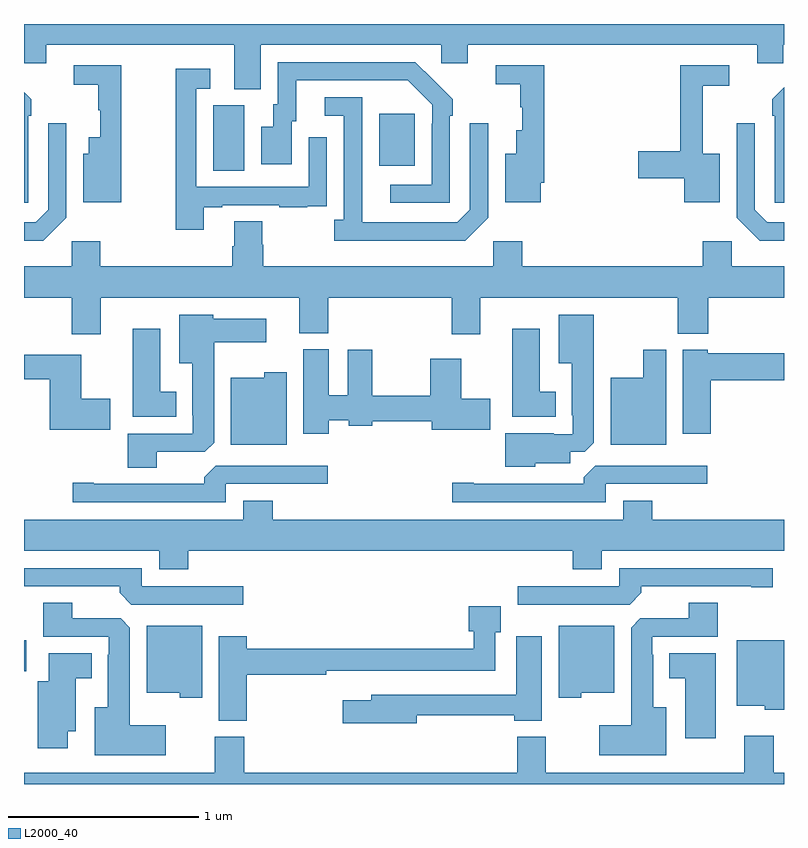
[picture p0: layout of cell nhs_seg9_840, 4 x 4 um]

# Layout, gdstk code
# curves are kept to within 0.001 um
import gdstk
lib = gdstk.Library(unit=1e-6, precision=1e-09)
def R(c, l, rs):  # rectangles x0, y0, x1, y1
    for r in rs: c.add(gdstk.rectangle(r[:2], r[2:], *l))
def P(c, l, *ps):  # polygons
    for p in ps: c.add(gdstk.Polygon(p, *l))
L2000_40 = (2000, 40)

nhs_seg9_840 = lib.new_cell('nhs_seg9_840')
R(nhs_seg9_840, L2000_40, [(155,1221.094,155.011,1221.256), (155.996,1223.728,156.16,1224.072), (156.869,1223.753,157.057,1224.028)])
P(nhs_seg9_840, L2000_40, [(156.247,1224.392),(157.197,1224.392),(157.197,1224.294),(157.336,1224.294),(157.336,1224.392),(158.858,1224.392),(158.858,1224.294),(158.997,1224.294),(158.997,1224.392),(159,1224.392),(159,1224.5),(155,1224.5),(155,1224.294),(155.116,1224.294),(155.116,1224.392),(156.107,1224.392),(156.107,1224.157),(156.247,1224.157)],
  [(157.242,1224.017),(157.257,1224.017),(157.257,1224.105),(157.06,1224.3),(156.336,1224.3),(156.336,1224.078),(156.311,1224.078),(156.311,1223.959),(156.248,1223.959),(156.248,1223.763),(156.409,1223.763),(156.409,1223.988),(156.433,1223.988),(156.433,1224.204),(157.021,1224.204),(157.149,1224.075),(157.149,1223.975),(157.146,1223.975),(157.146,1223.655),(156.927,1223.655),(156.927,1223.559),(157.242,1223.559)],
  [(158.662,1223.818),(158.573,1223.818),(158.573,1224.174),(158.713,1224.174),(158.713,1224.282),(158.455,1224.282),(158.455,1223.831),(158.232,1223.831),(158.232,1223.689),(158.474,1223.689),(158.474,1223.561),(158.662,1223.561)],
  [(155.512,1224.282),(155.262,1224.282),(155.262,1224.181),(155.391,1224.181),(155.391,1224.045),(155.402,1224.045),(155.402,1223.905),(155.342,1223.905),(155.342,1223.818),(155.312,1223.818),(155.312,1223.561),(155.512,1223.561)],
  [(157.72,1223.665),(157.739,1223.665),(157.739,1224.282),(157.482,1224.282),(157.482,1224.184),(157.611,1224.184),(157.611,1224.063),(157.622,1224.063),(157.622,1223.941),(157.592,1223.941),(157.592,1223.818),(157.532,1223.818),(157.532,1223.561),(157.72,1223.561)],
  [(155.947,1223.535),(156.043,1223.535),(156.043,1223.547),(156.343,1223.547),(156.343,1223.535),(156.491,1223.535),(156.491,1223.541),(156.593,1223.541),(156.593,1223.65),(156.594,1223.65),(156.594,1223.905),(156.498,1223.905),(156.498,1223.643),(155.907,1223.643),(155.907,1224.159),(155.98,1224.159),(155.98,1224.265),(155.799,1224.265),(155.799,1223.418),(155.947,1223.418)],
  [(159,1224.168),(158.937,1224.105),(158.937,1224.017),(158.952,1224.017),(158.952,1223.559),(159,1223.559)],
  [(155.022,1224.017),(155.037,1224.017),(155.037,1224.105),(155,1224.142),(155,1223.559),(155.022,1223.559)],
  [(157.443,1223.481),(157.443,1223.977),(157.347,1223.977),(157.347,1223.523),(157.281,1223.457),(156.781,1223.457),(156.78,1224.114),(156.582,1224.114),(156.582,1224.018),(156.684,1224.018),(156.684,1223.47),(156.633,1223.47),(156.633,1223.36),(157.322,1223.36)],
  [(155.223,1223.481),(155.223,1223.977),(155.127,1223.977),(155.127,1223.523),(155.061,1223.457),(155,1223.457),(155,1223.36),(155.102,1223.36)],
  [(159,1223.457),(158.913,1223.457),(158.847,1223.523),(158.847,1223.977),(158.751,1223.977),(158.751,1223.481),(158.872,1223.36),(159,1223.36)],
  [(155.404,1223.06),(156.449,1223.06),(156.449,1222.873),(156.602,1222.873),(156.602,1223.06),(157.25,1223.06),(157.25,1222.866),(157.402,1222.866),(157.402,1223.06),(158.44,1223.06),(158.44,1222.871),(158.6,1222.871),(158.6,1223.06),(159,1223.06),(159,1223.224),(158.724,1223.224),(158.724,1223.356),(158.573,1223.356),(158.573,1223.224),(157.622,1223.224),(157.622,1223.356),(157.47,1223.356),(157.47,1223.224),(156.26,1223.224),(156.26,1223.337),(156.255,1223.337),(156.255,1223.462),(156.107,1223.462),(156.107,1223.33),(156.095,1223.33),(156.095,1223.224),(155.402,1223.224),(155.402,1223.356),(155.25,1223.356),(155.25,1223.224),(155,1223.224),(155,1223.06),(155.252,1223.06),(155.252,1222.866),(155.404,1222.866)],
  [(155.698,1222.248),(155.952,1222.248),(156.001,1222.297),(156.001,1222.826),(156.274,1222.826),(156.274,1222.948),(155.997,1222.948),(155.997,1222.969),(155.816,1222.969),(155.816,1222.715),(155.885,1222.715),(155.885,1222.441),(155.889,1222.441),(155.889,1222.344),(155.546,1222.344),(155.546,1222.165),(155.698,1222.165)],
  [(157.692,1222.187),(157.876,1222.187),(157.876,1222.248),(157.95,1222.248),(157.999,1222.297),(157.999,1222.969),(157.814,1222.969),(157.814,1222.715),(157.883,1222.715),(157.883,1222.441),(157.887,1222.441),(157.887,1222.341),(157.787,1222.341),(157.787,1222.345),(157.532,1222.345),(157.532,1222.169),(157.692,1222.169)],
  [(155.8,1222.564),(155.716,1222.564),(155.716,1222.897),(155.573,1222.897),(155.573,1222.433),(155.8,1222.433)],
  [(157.798,1222.564),(157.714,1222.564),(157.714,1222.897),(157.571,1222.897),(157.571,1222.433),(157.798,1222.433)],
  [(156.604,1222.415),(156.708,1222.415),(156.708,1222.385),(156.834,1222.385),(156.834,1222.408),(157.145,1222.408),(157.145,1222.364),(157.453,1222.364),(157.453,1222.527),(157.3,1222.527),(157.3,1222.738),(157.138,1222.738),(157.138,1222.544),(156.834,1222.544),(156.834,1222.786),(156.704,1222.786),(156.704,1222.545),(156.604,1222.545),(156.604,1222.788),(156.47,1222.788),(156.47,1222.344),(156.604,1222.344)],
  [(158.615,1222.625),(159,1222.625),(159,1222.767),(158.598,1222.767),(158.598,1222.786),(158.468,1222.786),(158.468,1222.344),(158.615,1222.344)],
  [(158.38,1222.786),(158.258,1222.786),(158.258,1222.639),(158.087,1222.639),(158.087,1222.286),(158.38,1222.286)],
  [(155.455,1222.527),(155.302,1222.527),(155.302,1222.759),(155,1222.759),(155,1222.63),(155.135,1222.63),(155.135,1222.364),(155.455,1222.364)],
  [(156.382,1222.666),(156.264,1222.666),(156.264,1222.639),(156.089,1222.639),(156.089,1222.286),(156.382,1222.286)],
  [(156.063,1222.08),(156.598,1222.08),(156.598,1222.176),(156.009,1222.176),(155.948,1222.114),(155.948,1222.08),(155.368,1222.08),(155.368,1222.085),(155.256,1222.085),(155.256,1221.984),(156.063,1221.984)],
  [(158.061,1222.08),(158.596,1222.08),(158.596,1222.176),(158.007,1222.176),(157.946,1222.114),(157.946,1222.08),(157.366,1222.08),(157.366,1222.085),(157.254,1222.085),(157.254,1221.984),(158.061,1221.984)],
  [(155.864,1221.728),(157.889,1221.728),(157.889,1221.629),(158.041,1221.629),(158.041,1221.728),(159,1221.728),(159,1221.892),(158.306,1221.892),(158.306,1221.991),(158.153,1221.991),(158.153,1221.892),(156.308,1221.892),(156.308,1221.991),(156.155,1221.991),(156.155,1221.892),(155,1221.892),(155,1221.728),(155.711,1221.728),(155.711,1221.629),(155.864,1221.629)],
  [(158.249,1221.506),(158.249,1221.54),(158.828,1221.54),(158.828,1221.535),(158.941,1221.535),(158.941,1221.636),(158.133,1221.636),(158.133,1221.54),(157.599,1221.54),(157.599,1221.444),(158.187,1221.444)],
  [(156.154,1221.54),(155.619,1221.54),(155.619,1221.636),(155,1221.636),(155,1221.54),(155.504,1221.54),(155.504,1221.506),(155.565,1221.444),(156.154,1221.444)],
  [(158.38,1220.905),(158.311,1220.905),(158.311,1221.179),(158.307,1221.179),(158.307,1221.276),(158.651,1221.276),(158.651,1221.455),(158.498,1221.455),(158.498,1221.372),(158.244,1221.372),(158.195,1221.323),(158.195,1220.809),(158.028,1220.809),(158.028,1220.651),(158.38,1220.651)],
  [(155.746,1220.809),(155.557,1220.809),(155.557,1221.323),(155.508,1221.372),(155.254,1221.372),(155.254,1221.455),(155.102,1221.455),(155.102,1221.276),(155.445,1221.276),(155.445,1221.179),(155.441,1221.179),(155.441,1220.905),(155.372,1220.905),(155.372,1220.651),(155.746,1220.651)],
  [(156.173,1221.076),(156.59,1221.076),(156.59,1221.096),(157.479,1221.096),(157.479,1221.298),(157.51,1221.298),(157.51,1221.435),(157.34,1221.435),(157.34,1221.305),(157.367,1221.305),(157.367,1221.212),(156.173,1221.212),(156.173,1221.277),(156.026,1221.277),(156.026,1220.833),(156.173,1220.833)],
  [(157.932,1220.981),(158.107,1220.981),(158.107,1221.334),(157.814,1221.334),(157.814,1220.954),(157.932,1220.954)],
  [(155.938,1221.334),(155.645,1221.334),(155.645,1220.981),(155.82,1220.981),(155.82,1220.954),(155.938,1220.954)],
  [(157.066,1220.862),(157.58,1220.862),(157.58,1220.834),(157.726,1220.834),(157.726,1221.277),(157.592,1221.277),(157.592,1220.97),(156.827,1220.97),(156.827,1220.941),(156.678,1220.941),(156.678,1220.819),(157.066,1220.819)],
  [(159,1221.256),(158.75,1221.256),(158.75,1220.912),(158.898,1220.912),(158.898,1220.891),(159,1220.891)],
  [(155.23,1220.777),(155.272,1220.777),(155.272,1221.056),(155.356,1221.056),(155.356,1221.187),(155.129,1221.187),(155.129,1221.04),(155.072,1221.04),(155.072,1220.688),(155.23,1220.688)],
  [(158.641,1221.187),(158.396,1221.187),(158.396,1221.056),(158.48,1221.056),(158.48,1220.742),(158.641,1220.742)],
  [(159,1220.56),(158.945,1220.56),(158.945,1220.755),(158.792,1220.755),(158.792,1220.56),(157.747,1220.56),(157.747,1220.749),(157.595,1220.749),(157.595,1220.56),(156.158,1220.56),(156.158,1220.748),(156.005,1220.748),(156.005,1220.56),(155,1220.56),(155,1220.5),(159,1220.5)])

lib.write_gds('nhs_seg9_840.gds')
